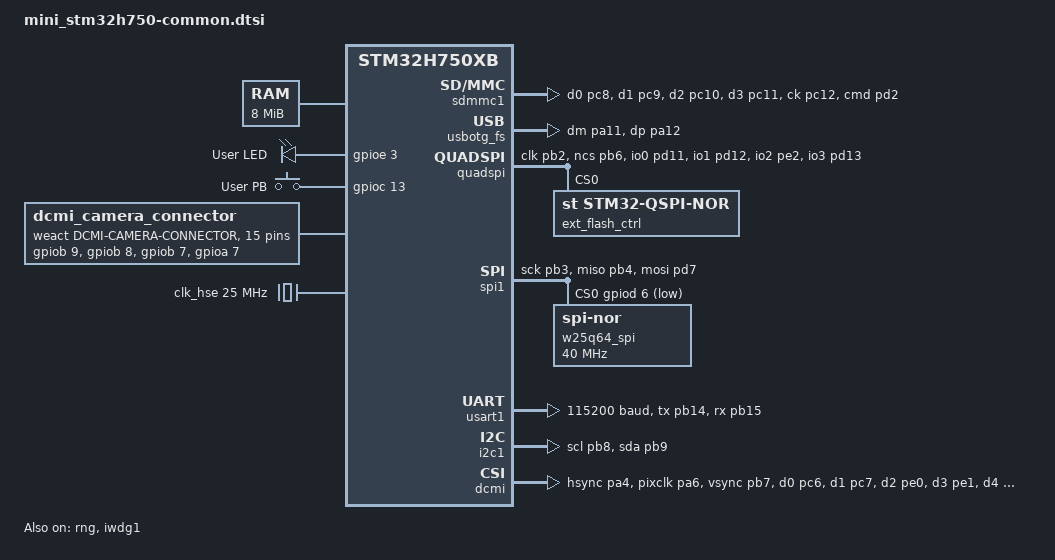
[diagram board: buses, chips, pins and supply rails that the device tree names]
/*
 * SPDX-FileCopyrightText: Copyright The Zephyr Project Contributors
 *
 * SPDX-License-Identifier: Apache-2.0
 */

#include <st/h7/stm32h750Xb.dtsi>
#include <st/h7/stm32h750vbtx-pinctrl.dtsi>
#include <zephyr/dt-bindings/input/input-event-codes.h>

/ {
	chosen {
		zephyr,console = &usart1;
		zephyr,shell-uart = &usart1;
		zephyr,sram = &sram0;
	};

	ext_flash_mem: memory@90000000 {
		compatible = "zephyr,memory-region";
		reg = <0x90000000 DT_SIZE_M(8)>; /* 8MB */
		zephyr,memory-region = "EXT_FLASH";
		zephyr,memory-attr = <DT_MEM_ARM_MPU_FLASH>;
	};

	leds {
		compatible = "gpio-leds";

		user_led: led {
			gpios = <&gpioe 3 GPIO_ACTIVE_HIGH>;
			label = "User LED";
		};
	};

	gpio_keys {
		compatible = "gpio-keys";

		user_button: button {
			label = "User PB";
			gpios = <&gpioc 13 (GPIO_ACTIVE_HIGH | GPIO_PULL_DOWN)>;
			zephyr,code = <INPUT_KEY_0>;
		};
	};

	aliases {
		led0 = &user_led;
		sw0 = &user_button;
		watchdog0 = &iwdg;
		sdhc0 = &sdmmc1;
	};

	dcmi_camera_connector: connector_dcmi_camera {
		compatible = "weact,dcmi-camera-connector";
		#gpio-cells = <2>;
		gpio-map-mask = <0xffffffff 0xffffffc0>;
		gpio-map-pass-thru = <0 0x3f>;

		gpio-map = <3 0 &gpiob 9 0>,  /* DVP_SDA (I2C1_SDA) */
			   <5 0 &gpiob 8 0>,  /* DVP_SCL (I2C1_SCL) */
			   <7 0 &gpiob 7 0>,  /* DVP_VSYNC */
			   <8 0 &gpioa 7 0>,  /* DVP_PWDN */
			   <9 0 &gpioa 4 0>,  /* DVP_HSYNC */
			   <12 0 &gpioe 6 0>,  /* DVP_D7 */
			   <13 0 &gpioa 8 0>,  /* DVP_XCLK (RCC_MCO1) */
			   <14 0 &gpioe 5 0>,  /* DVP_D6 */
			   <16 0 &gpiod 3 0>,  /* DVP_D5 */
			   <17 0 &gpioa 6 0>,  /* DVP_PCLK */
			   <18 0 &gpioe 4 0>,  /* DVP_D4 */
			   <19 0 &gpioc 6 0>,  /* DVP_D0 */
			   <20 0 &gpioe 1 0>,  /* DVP_D3 */
			   <21 0 &gpioc 7 0>,  /* DVP_D1 */
			   <22 0 &gpioe 0 0>;  /* DVP_D2 */
	};
};

&flash0 {
	status = "okay";
};

&clk_lsi {
	status = "okay";
};

&clk_hsi48 {
	status = "okay";
};

&clk_hse {
	clock-frequency = <DT_FREQ_M(25)>;
	status = "okay";
};

&pll {
	div-m = <5>;
	mul-n = <192>;
	div-p = <2>;
	div-q = <4>;
	div-r = <2>;
	clocks = <&clk_hse>;
	status = "okay";
};

&rcc {
	clocks = <&pll>;
	clock-frequency = <DT_FREQ_M(480)>;
	d1cpre = <1>;
	hpre = <2>;
	d1ppre = <2>;
	d2ppre1 = <2>;
	d2ppre2 = <2>;
	d3ppre = <2>;
};

&pwr {
	power-supply = "ldo";
};

&sdmmc1 {
	pinctrl-0 = <&sdmmc1_d0_pc8 &sdmmc1_d1_pc9
		     &sdmmc1_d2_pc10 &sdmmc1_d3_pc11
		     &sdmmc1_ck_pc12 &sdmmc1_cmd_pd2>;
	pinctrl-names = "default";
	cd-gpios = <&gpiod 4 (GPIO_ACTIVE_HIGH | GPIO_PULL_UP)>;
	disk-name = "SD";
	status = "okay";
};

zephyr_udc0: &usbotg_fs {
	pinctrl-0 = <&usb_otg_fs_dm_pa11 &usb_otg_fs_dp_pa12>;
	pinctrl-names = "default";
	status = "okay";
};

&quadspi {
	pinctrl-names = "default";
	pinctrl-0 = <&quadspi_clk_pb2 &quadspi_bk1_ncs_pb6
		     &quadspi_bk1_io0_pd11 &quadspi_bk1_io1_pd12
		     &quadspi_bk1_io2_pe2 &quadspi_bk1_io3_pd13>;
	status = "okay";

	ext_flash_ctrl: qspi-flash-controller@0 {
		compatible = "st,stm32-qspi-nor";
		reg = <0>;
		size = <DT_SIZE_M(64)>; /* 64 Mbits */
		qspi-max-frequency = <100000000>;
		cs-high-time = <2>; /* >= 50 ns */
		status = "okay";
		spi-bus-width = <4>;
		writeoc = "PP_1_1_4";
		reset-cmd;
		reset-cmd-wait = <2000>;

		#address-cells = <1>;
		#size-cells = <1>;
		ranges = <0x0 0x90000000 DT_SIZE_M(8)>;

		/* Sector erase 64KB uniform granularity for each Flash */
		/* Subsector erase 4KB, 32KB granularity for each Flash */
		ext_flash: w25q64_qspi: ext-flash@0 {
			compatible = "soc-nv-flash";
			reg = <0x0 DT_SIZE_M(8)>; /* 8MB */
			write-block-size = <1>;
			erase-block-size = <DT_SIZE_K(4)>;
		};
	};
};

&spi1 {
	pinctrl-0 = <&spi1_sck_pb3 &spi1_miso_pb4 &spi1_mosi_pd7>;
	cs-gpios = <&gpiod 6 GPIO_ACTIVE_LOW>;
	pinctrl-names = "default";
	status = "okay";

	w25q64_spi: spi-nor-flash@0 {
		compatible = "jedec,spi-nor";
		reg = <0>;
		spi-max-frequency = <40000000>;
		size = <DT_SIZE_M(64)>; /* 64 Mbits */
		status = "okay";
		jedec-id = [ef 40 17];
		has-dpd;
		t-enter-dpd = <3500>;
		t-exit-dpd = <3500>;
	};
};

&gpioe {
	status = "okay";
};

&rng {
	status = "okay";
};

&backup_sram {
	status = "okay";
};

&iwdg1 {
	status = "okay";
};

&usart1 {
	pinctrl-0 = <&usart1_tx_pb14 &usart1_rx_pb15>;
	pinctrl-names = "default";
	current-speed = <115200>;
	status = "okay";
};

zephyr_camera_i2c: &i2c1 {
	pinctrl-0 = <&i2c1_scl_pb8 &i2c1_sda_pb9>;
	pinctrl-names = "default";
};

zephyr_camera_dvp: &dcmi {
	pinctrl-0 = <&dcmi_hsync_pa4 &dcmi_pixclk_pa6 &dcmi_vsync_pb7
		     &dcmi_d0_pc6 &dcmi_d1_pc7 &dcmi_d2_pe0 &dcmi_d3_pe1
		     &dcmi_d4_pe4 &dcmi_d5_pd3 &dcmi_d6_pe5 &dcmi_d7_pe6>;
	pinctrl-names = "default";
};
